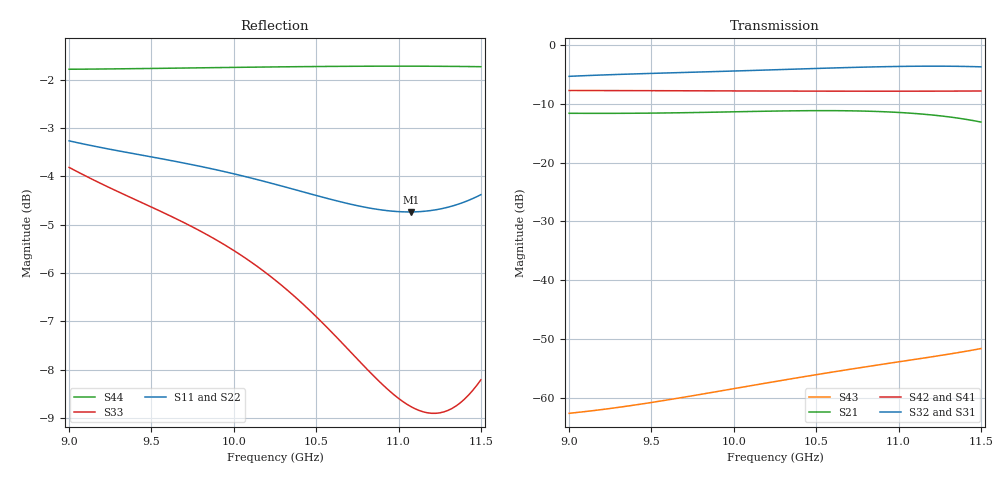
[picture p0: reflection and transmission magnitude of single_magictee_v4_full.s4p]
! Generated from PyAEDT SolutionData; AEDT ExportNetworkData workaround
# GHz S MA R 50
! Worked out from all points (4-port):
!   101 points, 9 GHz to 11.5 GHz, reference 50 ohm
!   strongest paths, dB at 9 GHz, 9.625 GHz, 10.25 GHz, 10.88 GHz, 11.5 GHz:
!     S32: -5.3, -4.7, -4.2, -3.7, -3.7
!     S31: -5.4, -4.8, -4.2, -3.7, -3.7
!     S42: -7.7, -7.8, -7.8, -7.8, -7.8
!     S41: -7.7, -7.8, -7.8, -7.9, -7.9
!     S21: -11.6, -11.5, -11.2, -11.3, -13.1
!     S43: -62.7, -60.3, -57.3, -54.5, -51.7
!   lowest |S11| = -4.7 dB at 11.07 GHz (marker M1), VSWR 3.76, Z = 13.7 + j8.37 ohm
!   |S11| at or under -10 dB: nowhere
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9  0.6866 25.2  0.2627 -85.0  0.5394 -4.9  0.4106 32.2
   0.2627 -85.0  0.6847 25.0  0.5418 -4.9  0.4106 -147.9
   0.5394 -4.9  0.5418 -4.9  0.6445 167.5  0.0007339 167.9
   0.4106 32.2  0.4106 -147.9  0.0007339 167.9  0.8142 -158.4
9.375  0.6668 -19.5  0.2628 -135.4  0.5646 -71.2  0.4094 -7.7
       0.2628 -135.4  0.6646 -19.6  0.567 -71.2  0.4096 172.2
       0.5646 -71.2  0.567 -71.2  0.5998 80.4  0.0008539 104.7
       0.4094 -7.7  0.4096 172.2  0.0008539 104.7  0.8152 167.1
9.7  0.6511 -56.9  0.2657 -177.2  0.5822 -126.5  0.4081 -41.3
     0.2657 -177.2  0.6485 -57.1  0.5848 -126.4  0.4084 138.7
     0.5822 -126.5  0.5848 -126.4  0.5648 8.1  0.001008 50.6
     0.4081 -41.3  0.4084 138.7  0.001008 50.6  0.8165 138.1
10.05  0.6318 -96.1  0.2712 138.4  0.6017 175.5  0.4065 -76.5
       0.2712 138.4  0.6288 -96.2  0.6045 175.6  0.407 103.5
       0.6017 175.5  0.6045 175.6  0.5221 -67.7  0.001224 -8.2
       0.4065 -76.5  0.407 103.5  0.001224 -8.2  0.818 107.4
10.55  0.5997 -149.2  0.2766 74.8  0.6324 93.8  0.4048 -125.6
       0.2766 74.8  0.5961 -149.3  0.6354 93.8  0.4055 54.4
       0.6324 93.8  0.6354 93.8  0.4431 -177.5  0.001606 -93.3
       0.4048 -125.6  0.4055 54.4  0.001606 -93.3  0.8196 64.5
11.075  0.5797 159.5  0.2631 6.9  0.6569 7.1  0.404 -176.1
        0.2631 6.9  0.5755 159.4  0.6599 7.2  0.4052 4.0
        0.6569 7.1  0.6599 7.2  0.3647 54.2  0.002087 176.9
        0.404 -176.1  0.4052 4.0  0.002087 176.9  0.8201 20.0
11.5  0.604 119.8  0.2213 -47.6  0.6501 -65.1  0.4045 143.6
      0.2213 -47.6  0.5994 119.9  0.6529 -64.9  0.4067 -36.2
      0.6501 -65.1  0.6529 -64.9  0.3887 -62.7  0.002611 104.5
      0.4045 143.6  0.4067 -36.2  0.002611 104.5  0.8191 -15.8
